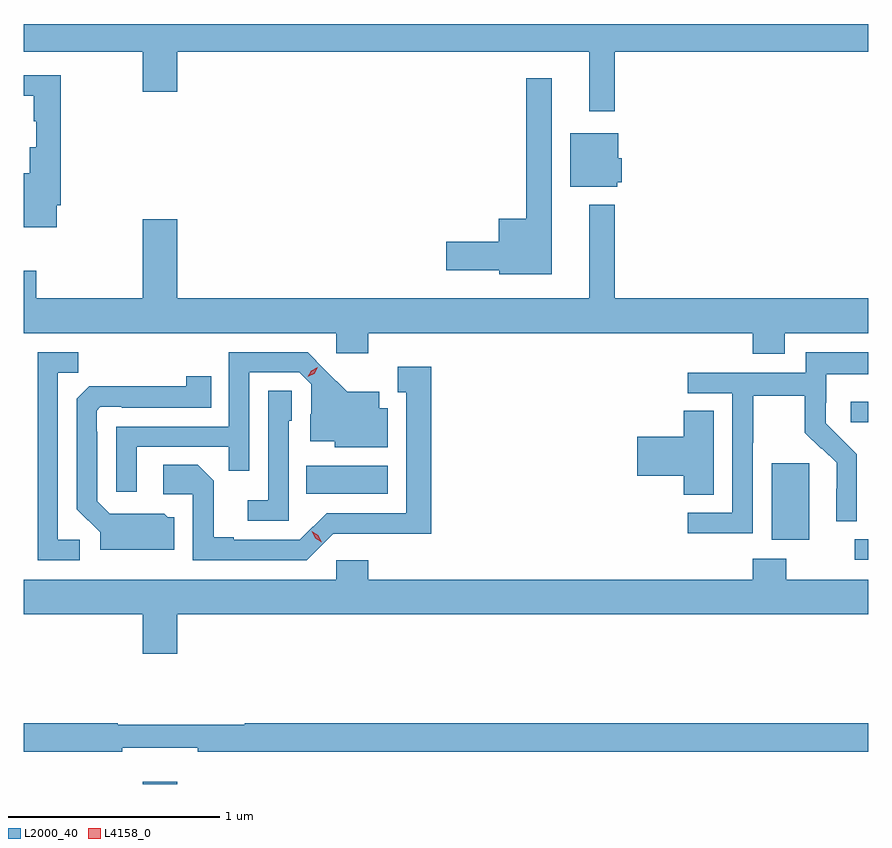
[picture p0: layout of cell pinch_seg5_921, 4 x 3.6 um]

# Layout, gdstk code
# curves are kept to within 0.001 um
import gdstk
lib = gdstk.Library(unit=1e-6, precision=1e-09)
def R(c, l, rs):  # rectangles x0, y0, x1, y1
    for r in rs: c.add(gdstk.rectangle(r[:2], r[2:], *l))
def P(c, l, *ps):  # polygons
    for p in ps: c.add(gdstk.Polygon(p, *l))
L2000_40 = (2000, 40)
L4158_0 = (4158, 0)

pinch_seg5_921 = lib.new_cell('pinch_seg5_921')
R(pinch_seg5_921, L2000_40, [(668.504,911.9,668.668,911.911), (671.877,912.963,671.941,913.059), (671.483,913.058,671.662,913.419), (669.28,913.274,669.664,913.408)])
P(pinch_seg5_921, L2000_40, [(670.741,915.368),(671.941,915.368),(671.941,915.5),(667.941,915.5),(667.941,915.368),(668.504,915.368),(668.504,915.18),(668.668,915.18),(668.668,915.368),(670.619,915.368),(670.619,915.087),(670.741,915.087)],
  [(668.098,914.641),(668.117,914.641),(668.117,915.258),(667.941,915.258),(667.941,915.16),(667.989,915.16),(667.989,915.039),(668,915.039),(668,914.917),(667.97,914.917),(667.97,914.794),(667.941,914.794),(667.941,914.537),(668.098,914.537)],
  [(670.441,915.244),(670.32,915.244),(670.32,914.578),(670.19,914.578),(670.19,914.468),(669.942,914.468),(669.942,914.333),(670.194,914.333),(670.194,914.315),(670.441,914.315)],
  [(670.752,914.751),(670.774,914.751),(670.774,914.865),(670.756,914.865),(670.756,914.983),(670.529,914.983),(670.529,914.729),(670.752,914.729)],
  [(671.545,914.036),(671.941,914.036),(671.941,914.2),(670.741,914.2),(670.741,914.644),(670.619,914.644),(670.619,914.2),(668.668,914.2),(668.668,914.575),(668.504,914.575),(668.504,914.2),(668,914.2),(668,914.332),(667.941,914.332),(667.941,914.036),(669.42,914.036),(669.42,913.941),(669.572,913.941),(669.572,914.036),(671.393,914.036),(671.393,913.937),(671.545,913.937)],
  [(671.394,913.516),(671.397,913.516),(671.397,913.74),(671.641,913.74),(671.641,913.565),(671.718,913.488),(671.721,913.491),(671.792,913.421),(671.792,913.298),(671.79,913.298),(671.79,913.144),(671.886,913.144),(671.886,913.462),(671.74,913.61),(671.74,913.707),(671.742,913.707),(671.742,913.841),(671.941,913.841),(671.941,913.945),(671.646,913.945),(671.646,913.848),(671.085,913.848),(671.085,913.752),(671.298,913.752),(671.298,913.185),(671.085,913.185),(671.085,913.087),(671.394,913.087)],
  [(668.475,913.497),(668.911,913.497),(668.911,913.384),(669.009,913.384),(669.009,913.851),(669.246,913.851),(669.303,913.794),(669.303,913.652),(669.299,913.652),(669.299,913.523),(669.414,913.523),(669.414,913.496),(669.664,913.496),(669.664,913.681),(669.625,913.681),(669.625,913.759),(669.473,913.759),(669.286,913.944),(668.913,913.944),(668.913,913.593),(668.379,913.593),(668.379,913.284),(668.475,913.284)],
  [(668.206,913.056),(668.103,913.056),(668.103,913.849),(668.199,913.849),(668.199,913.944),(668.007,913.944),(668.007,912.96),(668.206,912.96)],
  [(669.408,913.086),(669.871,913.085),(669.871,913.876),(669.713,913.876),(669.713,913.755),(669.752,913.755),(669.752,913.182),(669.375,913.182),(669.249,913.056),(668.935,913.056),(668.935,913.069),(668.841,913.069),(668.841,913.336),(668.765,913.412),(668.601,913.412),(668.601,913.272),(668.742,913.272),(668.742,912.96),(669.282,912.96)],
  [(668.653,913.164),(668.622,913.164),(668.606,913.18),(668.349,913.179),(668.289,913.239),(668.289,913.568),(668.286,913.568),(668.286,913.668),(668.304,913.686),(668.404,913.686),(668.404,913.683),(668.828,913.683),(668.828,913.831),(668.71,913.831),(668.71,913.784),(668.252,913.783),(668.193,913.724),(668.193,913.202),(668.303,913.092),(668.303,913.01),(668.653,913.01)],
  [(669.195,913.62),(669.21,913.62),(669.21,913.763),(669.099,913.763),(669.099,913.243),(669.003,913.243),(669.003,913.146),(669.195,913.146)],
  [(671.941,913.711),(671.859,913.711),(671.859,913.614),(671.94,913.614),(671.941,913.613)],
  [(671.209,913.667),(671.066,913.667),(671.066,913.544),(670.848,913.544),(670.848,913.361),(671.066,913.361),(671.066,913.27),(671.209,913.27)],
  [(668.668,912.704),(671.941,912.704),(671.941,912.868),(671.553,912.868),(671.553,912.967),(671.393,912.967),(671.393,912.868),(669.572,912.868),(669.572,912.961),(669.42,912.961),(669.42,912.868),(667.941,912.868),(667.941,912.704),(668.504,912.704),(668.504,912.516),(668.668,912.516)],
  [(668.408,912.071),(668.764,912.071),(668.764,912.052),(671.941,912.052),(671.941,912.188),(668.987,912.188),(668.987,912.181),(668.387,912.181),(668.387,912.188),(667.941,912.188),(667.941,912.052),(668.408,912.052)])
P(pinch_seg5_921, L4158_0, [(669.352,913.045),(669.321,913.064),(669.304,913.097),(669.304,913.098),(669.304,913.098),(669.335,913.078),(669.352,913.045),(669.352,913.045)],
  [(669.285,913.828),(669.285,913.829),(669.303,913.858),(669.333,913.873),(669.334,913.873),(669.334,913.873),(669.316,913.843),(669.285,913.828)])

lib.write_gds('pinch_seg5_921.gds')
